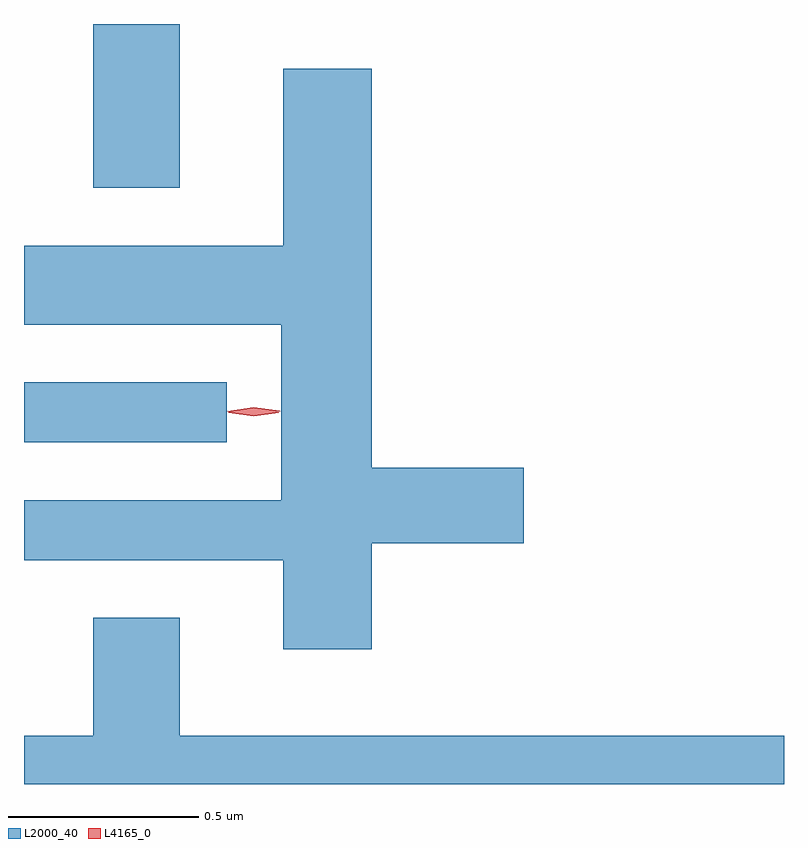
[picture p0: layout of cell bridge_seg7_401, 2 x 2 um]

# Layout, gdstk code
import gdstk
lib = gdstk.Library(unit=1e-6, precision=1e-09)
def R(c, l, rs):  # rectangles x0, y0, x1, y1
    for r in rs: c.add(gdstk.rectangle(r[:2], r[2:], *l))
def P(c, l, *ps):  # polygons
    for p in ps: c.add(gdstk.Polygon(p, *l))
L2000_40 = (2000, 40)
L4165_0 = (4165, 0)

bridge_seg7_401 = lib.new_cell('bridge_seg7_401')
R(bridge_seg7_401, L2000_40, [(1082.599,1797.496,1083.133,1797.654), (1082.781,1798.166,1083.009,1798.597)])
P(bridge_seg7_401, L2000_40, [(1083.514,1797.231),(1083.914,1797.231),(1083.914,1797.429),(1083.514,1797.429),(1083.514,1798.479),(1083.281,1798.479),(1083.281,1798.014),(1082.599,1798.014),(1082.599,1797.806),(1083.276,1797.806),(1083.276,1797.344),(1082.599,1797.344),(1082.599,1797.186),(1083.281,1797.186),(1083.281,1796.951),(1083.514,1796.951)],
  [(1084.599,1796.724),(1083.009,1796.724),(1083.009,1797.034),(1082.781,1797.034),(1082.781,1796.724),(1082.599,1796.724),(1082.599,1796.597),(1084.599,1796.597)])
P(bridge_seg7_401, L4165_0, [(1083.204,1797.568),(1083.134,1797.578),(1083.134,1797.578),(1083.134,1797.578),(1083.203,1797.588),(1083.272,1797.579),(1083.273,1797.578),(1083.272,1797.578)],
  [(1083.203,1797.565),(1083.138,1797.574),(1083.137,1797.575),(1083.138,1797.576),(1083.203,1797.585),(1083.269,1797.575),(1083.269,1797.575),(1083.269,1797.574)])

lib.write_gds('bridge_seg7_401.gds')
